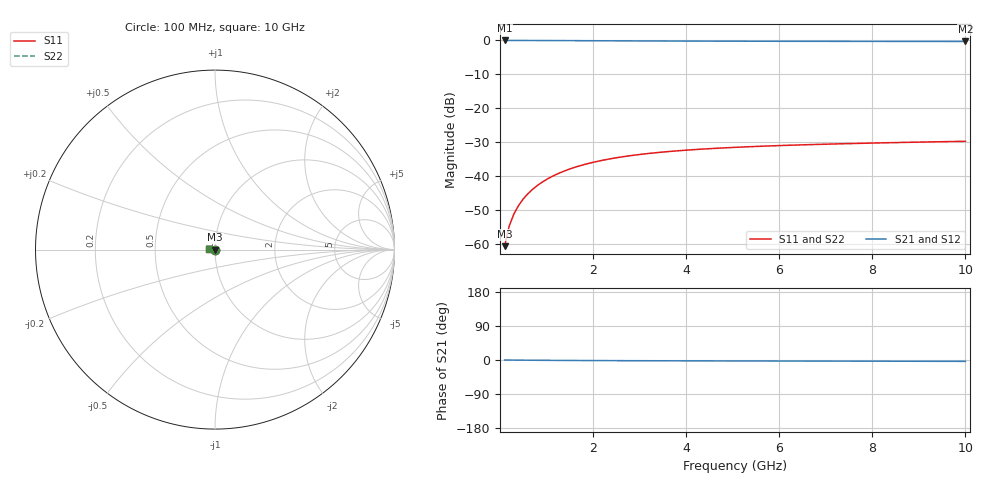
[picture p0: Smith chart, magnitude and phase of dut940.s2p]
! Touchstone file exported from HFSS 2024.1.0
!  File:  C:/UserFiles/LocalFiles/RDL_TSV_Batchsim/temp_TSV1_940_1779947972.aedt
!  Generated:  02:06:58 PM May 28, 2026
!  Design:  TSV1
!  Project:  temp_TSV1_940_1779947972
!  Setup:  Setup1
!  Solution:  Sweep
! Variables:
!  dtsv = 12.2um
!  hbump = 3um
!  htsv = 51.5um
!  lrdl = 252.1521522um
!  p = 40
!  p1 = 55.08um
!  t = 500um
!  trdl = 3um
!  wrdl = 24.89489489um
# GHz S MA R 50.000000
! Terminal data exported
! Port[1] = TSV22_T1
! Port[2] = TSV22_T2
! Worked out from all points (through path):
!   100 points, 100 MHz to 10 GHz, reference 50 ohm
!   highest |S21| = 0.00 dB at 100 MHz (marker M1); lowest = -0.3 dB at 10 GHz (marker M2)
!   lowest |S11| = -60.7 dB at 100 MHz (marker M3), VSWR 1.00, Z = 50 - j0.0921 ohm
!   |S11| at or under -10 dB: start of sweep to end of sweep
!   |S22| runs from -60.7 to -29.8 dB; largest |S21 - S12| = 8.7e-15
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0.1  0.0009216 -87.3  0.9999 -0.1  0.9999 -0.1  0.0009216 -87.3
! Gamma 0 0 0 0
! Port Impedance 50 0 50 0
0.2  0.001839 -91.4  0.9998 -0.2  0.9998 -0.2  0.001839 -91.4
0.3  0.002757 -94.0  0.9996 -0.3  0.9996 -0.3  0.002757 -94.0
0.4  0.00367 -96.3  0.9994 -0.4  0.9994 -0.4  0.00367 -96.3
0.5  0.004574 -98.5  0.9991 -0.4  0.9991 -0.4  0.004574 -98.5
0.6  0.005468 -100.6  0.9987 -0.5  0.9987 -0.5  0.005468 -100.6
0.7  0.006347 -102.6  0.9984 -0.6  0.9984 -0.6  0.006347 -102.6
0.8  0.00721 -104.6  0.9979 -0.7  0.9979 -0.7  0.00721 -104.6
0.9  0.008056 -106.5  0.9974 -0.8  0.9974 -0.8  0.008056 -106.5
1.1  0.009687 -110.3  0.9964 -0.9  0.9964 -0.9  0.009687 -110.3
1.4  0.01197 -115.6  0.9945 -1.1  0.9945 -1.1  0.01197 -115.6
1.6  0.01337 -118.9  0.9932 -1.3  0.9932 -1.3  0.01337 -118.9
1.8  0.01469 -122.1  0.9919 -1.4  0.9919 -1.4  0.01469 -122.1
2.1  0.01648 -126.6  0.9899 -1.5  0.9899 -1.5  0.01648 -126.6
2.5  0.01857 -132.2  0.9873 -1.7  0.9873 -1.7  0.01857 -132.2
2.9  0.02035 -137.1  0.9848 -1.9  0.9848 -1.9  0.02035 -137.1
3.4  0.02222 -142.7  0.982 -2.0  0.982 -2.0  0.02222 -142.7
4.2  0.02457 -150.3  0.9783 -2.3  0.9783 -2.3  0.02457 -150.3
5.1  0.02656 -157.5  0.975 -2.5  0.975 -2.5  0.02656 -157.5
6.7  0.02908 -167.8  0.9709 -2.8  0.9709 -2.8  0.02908 -167.8
8.4  0.03102 -176.5  0.9681 -3.2  0.9681 -3.2  0.03102 -176.5
10  0.03252 176.7  0.9663 -3.6  0.9663 -3.6  0.03252 176.7
